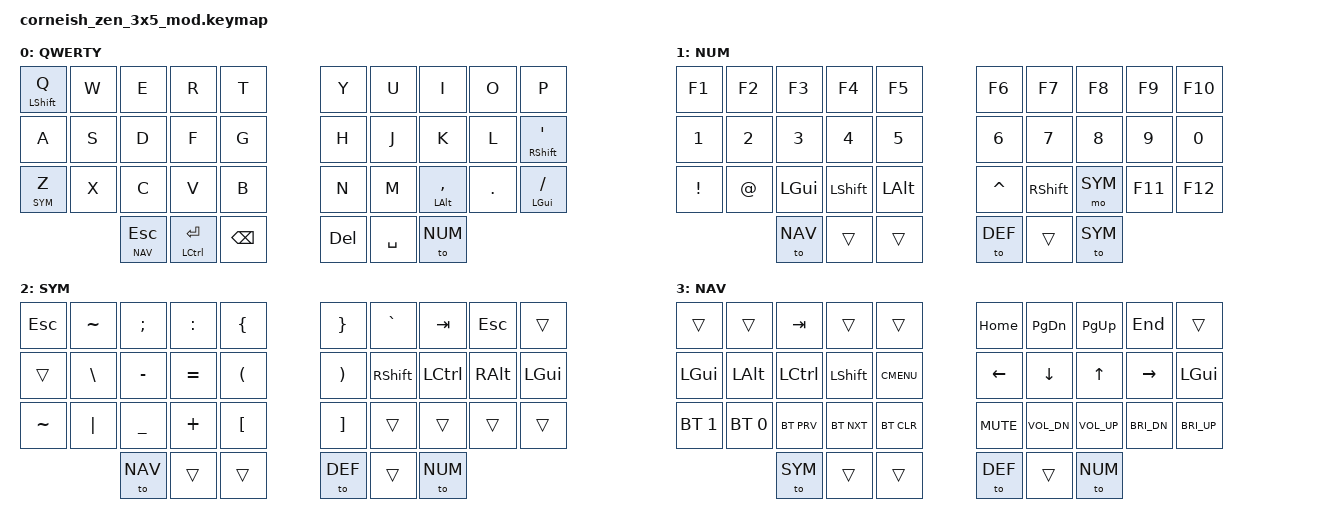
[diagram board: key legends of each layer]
#include <behaviors.dtsi>
#include <dt-bindings/zmk/keys.h>
#include <dt-bindings/zmk/bt.h>

#define DEF     0
#define NUM     1
#define SYM     2
#define NAV     3

/ {
  chosen {
    //zmk,matrix_transform = &default_transform;
    zmk,matrix_transform = &five_column_transform;
  };
};

/ {
        keymap {
                compatible = "zmk,keymap";

                default_layer {
                        label = "QWERTY";
                        bindings = <
// ╭─────────────┬─────────────┬─────────────┬─────────────┬─────────────╮   ╭─────────────┬─────────────┬─────────────┬─────────────┬─────────────╮
     &mt LSHFT Q   &kp W         &kp E         &kp R         &kp T             &kp Y         &kp U         &kp I         &kp O         &kp P
// ├─────────────┼─────────────┼─────────────┼─────────────┼─────────────┤   ├─────────────┼─────────────┼─────────────┼─────────────┼─────────────┤
     &kp A         &kp S         &kp D         &kp F         &kp G             &kp H         &kp J         &kp K         &kp L         &mt RSHFT QUOT
// ├─────────────┼─────────────┼─────────────┼─────────────┼─────────────┤   ├─────────────┼─────────────┼─────────────┼─────────────┼─────────────┤
     &lt SYM Z     &kp X         &kp C         &kp V         &kp B             &kp N         &kp M         &mt LALT CMMA &kp DOT       &mt LGUI FSLH
// ╰─────────────┴─────────────┼─────────────┼─────────────┼─────────────┤   ├─────────────┼─────────────┼─────────────┼─────────────┴─────────────╯
                                 &lt NAV ESC   &mt LCTRL RET &kp BSPC          &kp DEL       &kp SPC       &to NUM
//                             ╰─────────────┴─────────────┴─────────────╯   ╰─────────────┴─────────────┴─────────────╯
                        >;
                };
                num_layer {
                        label = "NUM";
                        bindings = <
// ╭─────────────┬─────────────┬─────────────┬─────────────┬─────────────╮   ╭─────────────┬─────────────┬─────────────┬─────────────┬─────────────╮
     &kp F1        &kp F2        &kp F3        &kp F4        &kp F5            &kp F6        &kp F7        &kp F8        &kp F9        &kp F10
// ├─────────────┼─────────────┼─────────────┼─────────────┼─────────────┤   ├─────────────┼─────────────┼─────────────┼─────────────┼─────────────┤
     &kp N1        &kp N2        &kp N3        &kp N4        &kp N5            &kp N6        &kp N7        &kp N8        &kp N9        &kp N0
// ├─────────────┼─────────────┼─────────────┼─────────────┼─────────────┤   ├─────────────┼─────────────┼─────────────┼─────────────┼─────────────┤
     &kp EXCL      &kp AT        &kp LGUI      &kp LSHFT     &kp LALT          &kp CARET     &kp RSHFT     &mo SYM       &kp F11       &kp F12
// ╰─────────────┴─────────────┼─────────────┼─────────────┼─────────────┤   ├─────────────┼─────────────┼─────────────┼─────────────┴─────────────╯
                                 &to NAV       &trans        &trans            &to DEF       &trans        &to SYM
//                             ╰─────────────┴─────────────┴─────────────╯   ╰─────────────┴─────────────┴─────────────╯
                        >;
                };
                sym_layer {
                        label = "SYM";
                        bindings = <
// ╭─────────────┬─────────────┬─────────────┬─────────────┬─────────────╮   ╭─────────────┬─────────────┬─────────────┬─────────────┬─────────────╮
     &kp ESC       &kp TILDE     &kp SEMI      &kp COLON     &kp LBRC          &kp RBRC      &kp GRAVE     &kp TAB       &kp ESC       &trans
// ├─────────────┼─────────────┼─────────────┼─────────────┼─────────────┤   ├─────────────┼─────────────┼─────────────┼─────────────┼─────────────┤
     &trans        &kp BSLH      &kp MINUS     &kp EQUAL     &kp LPAR          &kp RPAR      &kp RSHFT     &kp LCTRL     &kp RALT      &kp LGUI
// ├─────────────┼─────────────┼─────────────┼─────────────┼─────────────┤   ├─────────────┼─────────────┼─────────────┼─────────────┼─────────────┤
     &kp TILDE     &kp PIPE      &kp UNDER     &kp PLUS      &kp LBKT          &kp RBKT      &trans        &trans        &trans        &trans
// ╰─────────────┴─────────────┼─────────────┼─────────────┼─────────────┤   ├─────────────┼─────────────┼─────────────┼─────────────┴─────────────╯
                                 &to NAV       &trans        &trans            &to DEF       &trans        &to NUM
//                             ╰─────────────┴─────────────┴─────────────╯   ╰─────────────┴─────────────┴─────────────╯
                        >;
                };
                nav_layer {
                        label = "NAV";
                        bindings = <
// ╭─────────────┬─────────────┬─────────────┬─────────────┬─────────────╮   ╭─────────────┬─────────────┬─────────────┬─────────────┬─────────────╮
     &trans        &trans        &kp TAB       &trans        &trans            &kp HOME      &kp PG_DN     &kp PG_UP     &kp END       &trans
// ├─────────────┼─────────────┼─────────────┼─────────────┼─────────────┤   ├─────────────┼─────────────┼─────────────┼─────────────┼─────────────┤
     &kp LGUI      &kp LALT      &kp LCTRL     &kp LSHFT     &kp K_CMENU       &kp LEFT      &kp DOWN      &kp UP        &kp RIGHT     &kp LGUI
// ├─────────────┼─────────────┼─────────────┼─────────────┼─────────────┤   ├─────────────┼─────────────┼─────────────┼─────────────┼─────────────┤
     &bt BT_SEL 1  &bt BT_SEL 0  &bt BT_PRV    &bt BT_NXT    &bt BT_CLR        &kp C_MUTE    &kp C_VOL_DN  &kp C_VOL_UP  &kp C_BRI_DN  &kp C_BRI_UP
// ╰─────────────┴─────────────┼─────────────┼─────────────┼─────────────┤   ├─────────────┼─────────────┼─────────────┼─────────────┴─────────────╯
                                 &to SYM       &trans        &trans            &to DEF       &trans        &to NUM
//                             ╰─────────────┴─────────────┴─────────────╯   ╰─────────────┴─────────────┴─────────────╯
                        >;
                };
        };
};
